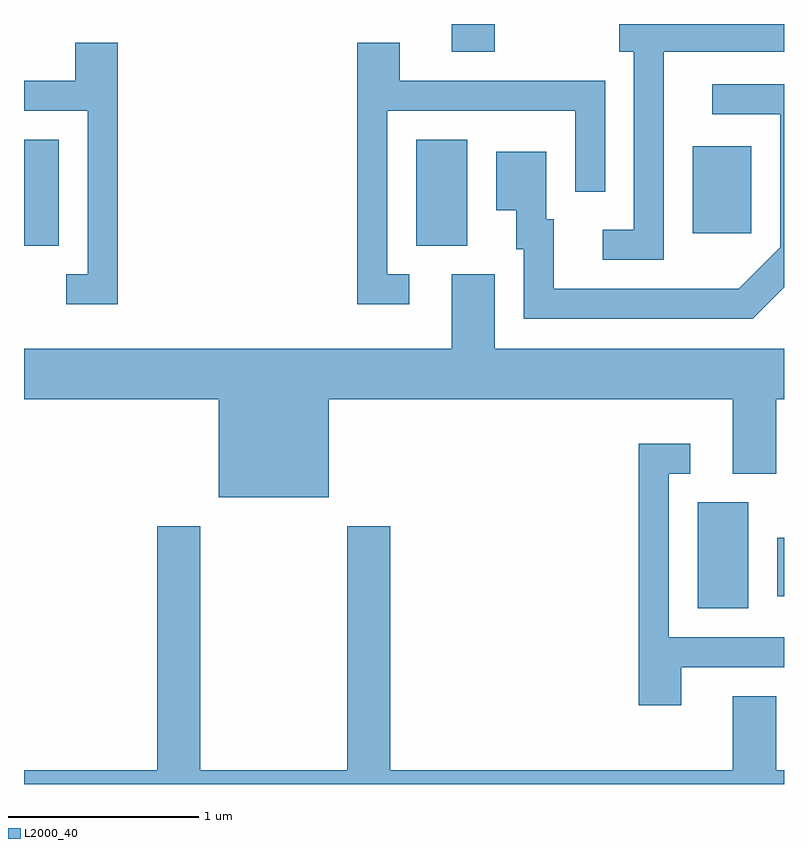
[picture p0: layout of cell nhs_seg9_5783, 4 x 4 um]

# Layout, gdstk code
import gdstk
lib = gdstk.Library(unit=1e-6, precision=1e-09)
def R(c, l, rs):  # rectangles x0, y0, x1, y1
    for r in rs: c.add(gdstk.rectangle(r[:2], r[2:], *l))
def P(c, l, *ps):  # polygons
    for p in ps: c.add(gdstk.Polygon(p, *l))
L2000_40 = (2000, 40)

nhs_seg9_5783 = lib.new_cell('nhs_seg9_5783')
R(nhs_seg9_5783, L2000_40, [(359.156,2017.356,359.424,2017.914), (359.576,2017.421,359.611,2017.729), (355.611,2019.266,355.794,2019.824), (357.676,2019.266,357.944,2019.824), (359.131,2019.331,359.439,2019.789), (357.861,2020.286,358.089,2020.432)])
P(nhs_seg9_5783, L2000_40, [(358.979,2020.286),(359.611,2020.286),(359.611,2020.432),(358.743,2020.432),(358.743,2020.286),(358.821,2020.286),(358.821,2019.349),(358.658,2019.349),(358.658,2019.191),(358.979,2019.191)],
  [(356.104,2020.334),(355.881,2020.334),(355.881,2020.134),(355.611,2020.134),(355.611,2019.976),(355.946,2019.976),(355.946,2019.114),(355.833,2019.114),(355.833,2018.956),(356.104,2018.956)],
  [(357.638,2019.114),(357.524,2019.114),(357.524,2019.976),(358.511,2019.976),(358.511,2019.548),(358.669,2019.548),(358.669,2020.134),(357.589,2020.134),(357.589,2020.334),(357.366,2020.334),(357.366,2018.956),(357.638,2018.956)],
  [(359.611,2019.046),(359.611,2020.114),(359.233,2020.114),(359.233,2019.956),(359.591,2019.956),(359.591,2019.257),(359.374,2019.039),(358.399,2019.039),(358.399,2019.404),(358.359,2019.404),(358.359,2019.759),(358.096,2019.759),(358.096,2019.451),(358.201,2019.451),(358.201,2019.246),(358.241,2019.246),(358.241,2018.881),(359.447,2018.881)],
  [(355.611,2018.456),(356.636,2018.456),(356.636,2017.941),(357.214,2017.941),(357.214,2018.456),(359.341,2018.456),(359.341,2018.066),(359.569,2018.066),(359.569,2018.456),(359.611,2018.456),(359.611,2018.724),(358.089,2018.724),(358.089,2019.114),(357.861,2019.114),(357.861,2018.724),(355.611,2018.724)],
  [(359.069,2017.046),(359.611,2017.046),(359.611,2017.204),(359.004,2017.204),(359.004,2018.066),(359.118,2018.066),(359.118,2018.224),(358.846,2018.224),(358.846,2016.846),(359.069,2016.846)],
  [(359.611,2016.504),(359.569,2016.504),(359.569,2016.894),(359.341,2016.894),(359.341,2016.504),(357.539,2016.504),(357.539,2017.789),(357.311,2017.789),(357.311,2016.504),(356.539,2016.504),(356.539,2017.789),(356.311,2017.789),(356.311,2016.504),(355.611,2016.504),(355.611,2016.432),(359.611,2016.432)])

lib.write_gds('nhs_seg9_5783.gds')
